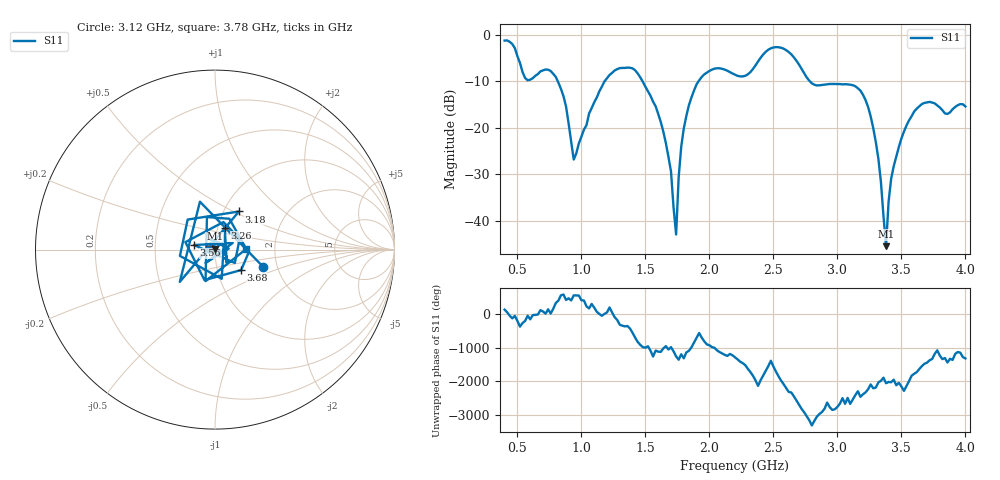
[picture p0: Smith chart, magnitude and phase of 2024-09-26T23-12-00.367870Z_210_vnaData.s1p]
!Created with skrf (http://scikit-rf.org).
# Hz S RI R 50.0
!freq ReS11 ImS11
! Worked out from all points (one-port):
!   181 points, 400 MHz to 4 GHz, reference 50 ohm
!   lowest |S11| = -45.5 dB at 3.38 GHz (marker M1), VSWR 1.01, Z = 49.9 + j0.517 ohm
!   |S11| at or under -10 dB: 815.5 MHz to 1.181 GHz (365.2 MHz wide, 36.6 % of centre); 1.478 GHz to 1.915 GHz (437.4 MHz wide, 25.8 % of centre); 2.785 GHz to end of sweep
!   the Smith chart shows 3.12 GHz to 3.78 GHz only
!   S11 on the Smith chart (normalised r, x): 3.12 GHz: 1.69, -0.36; 3.18 GHz: 1.18, +0.53; 3.26 GHz: 1.08, +0.27; 3.56 GHz: 0.79, +0.04; 3.68 GHz: 1.30, -0.31; 3.78 GHz: 1.42, +0.01
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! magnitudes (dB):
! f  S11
! 400 MHz  -1.2
! 560 MHz  -9.3
! 740 MHz  -7.5
! 860 MHz  -13.2
! 940 MHz  -26.9
! 1.14 GHz  -12.2
! 1.3 GHz  -7.1
! 1.58 GHz  -15.4
! 1.7 GHz  -29.4
! 1.74 GHz  -43.0
! 1.76 GHz  -30.6
! 1.8 GHz  -20.1
! 1.9 GHz  -10.6
! 2.2 GHz  -8.6
! 2.5 GHz  -2.7
! 2.66 GHz  -4.8
! 2.82 GHz  -10.7
! 3.1 GHz  -10.7
! 3.12 GHz  -10.8
! 3.18 GHz  -12.0
! 3.26 GHz  -17.6
! 3.32 GHz  -26.7
! 3.38 GHz  -45.5
! 3.42 GHz  -31.0
! 3.56 GHz  -18.4
! 3.68 GHz  -14.7
! 3.78 GHz  -15.2
! 4 GHz  -15.4
